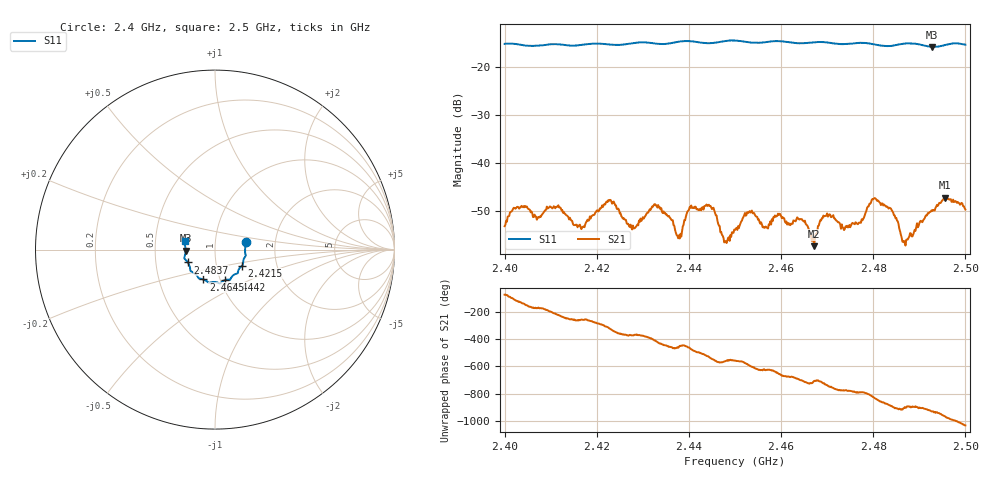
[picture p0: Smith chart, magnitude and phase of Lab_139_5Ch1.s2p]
# Hz S RI R 50
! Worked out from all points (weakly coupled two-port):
!   601 points, 2.4 GHz to 2.5 GHz, reference 50 ohm
!   highest |S21| = -47.10 dB at 2.4955 GHz (marker M1); lowest = -57.2 dB at 2.4672 GHz (marker M2)
!   lowest |S11| = -15.7 dB at 2.4928 GHz (marker M3), VSWR 1.39, Z = 36 - j0.397 ohm
!   |S11| at or under -10 dB: start of sweep to end of sweep
!   S12 and S22 are empty: the file has one direction only
!   S11 on the Smith chart (normalised r, x): 2.4 GHz: 1.41, +0.12; 2.4215 GHz: 1.33, -0.25; 2.4442 GHz: 1.05, -0.37; 2.4645 GHz: 0.83, -0.29; 2.4837 GHz: 0.73, -0.11; 2.5 GHz: 0.71, +0.07
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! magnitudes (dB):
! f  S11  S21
! 2.4 GHz  -15.1  -53.1
! 2.4112 GHz  -15.2  -49.0
! 2.4167 GHz  -15.3  -53.7
! 2.4215 GHz  -15.1  -48.6
! 2.428 GHz  -14.9  -53.6
! 2.4333 GHz  -15.1  -48.7
! 2.4378 GHz  -14.6  -55.0
! 2.4402 GHz  -14.5  -49.1
! 2.4442 GHz  -15.0  -48.8
! 2.4478 GHz  -14.5  -56.2
! 2.45 GHz  -14.4  -53.9
! 2.4532 GHz  -14.8  -50.0
! 2.4645 GHz  -15.0  -51.6
! 2.4667 GHz  -14.8  -56.1
! 2.4672 GHz  -14.8  -57.2
! 2.4695 GHz  -14.8  -50.9
! 2.4833 GHz  -15.6  -49.4
! 2.4837 GHz  -15.5  -49.3
! 2.4868 GHz  -15.0  -56.2
! 2.4928 GHz  -15.7  -49.9
! 2.4955 GHz  -15.4  -47.1
! 2.5 GHz  -15.3  -49.6
